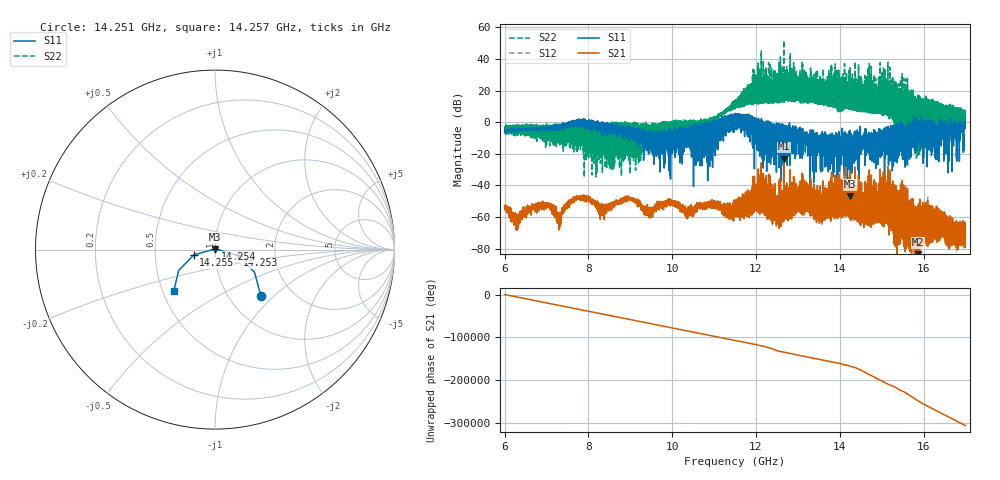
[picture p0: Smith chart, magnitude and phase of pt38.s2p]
#  HZ  S  RI  R  50.00
! Rohde & Schwarz Vector Network Analyzer
! Rohde-Schwarz,ZNA67-2Port,1332450062101215,3.01
! Created: UTC 10/15/2026, 4:16:47 PM
! freq[Hz]  re:S11  im:S11  re:S21  im:S21  re:S12  im:S12  re:S22  im:S22
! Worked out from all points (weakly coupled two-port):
!   11001 points, 6 GHz to 17 GHz, reference 50 ohm
!   highest |S21| = -23.04 dB at 12.666 GHz (marker M1); lowest = -86.2 dB at 15.868 GHz (marker M2)
!   lowest |S11| = -46.9 dB at 14.254 GHz (marker M3), VSWR 1.01, Z = 50.2 + j0.425 ohm
!   |S11| at or under -10 dB: 13.47949 GHz to 13.51904 GHz (39.55 MHz wide, 0.293 % of centre); 13.59815 GHz to 13.64679 GHz (48.64 MHz wide, 0.357 % of centre); 13.77205 GHz to 13.81189 GHz (39.84 MHz wide, 0.289 % of centre) (the widest 3 of 525)
!   |S22| runs from -34.8 to 51.6 dB; largest |S21 - S12| = 0.0068
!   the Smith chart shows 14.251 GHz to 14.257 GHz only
!   S11 on the Smith chart (normalised r, x): 14.251 GHz: 1.40, -0.83; 14.253 GHz: 1.29, -0.08; 14.254 GHz: 1.00, +0.01; 14.255 GHz: 0.79, -0.05; 14.257 GHz: 0.57, -0.29
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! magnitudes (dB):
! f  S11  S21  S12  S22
! 6 GHz  -5.1  -53.0  -52.9  -6.4
! 6.311 GHz  -5.3  -65.2  -65.4  -3.0
! 7.059 GHz  -3.0  -52.3  -52.1  -5.6
! 7.299 GHz  -3.8  -65.3  -65.5  -2.4
! 7.834 GHz  -0.4  -47.9  -47.8  -7.1
! 8.336 GHz  -1.6  -55.5  -54.9  -8.3
! 8.928 GHz  -3.0  -49.5  -49.3  -11.0
! 9.377 GHz  -15.3  -56.9  -56.7  -1.1
! 9.667 GHz  -12.7  -53.1  -53.4  -4.1
! 10.834 GHz  -6.3  -53.0  -53.0  1.6
! 11.5 GHz  5.3  -54.6  -54.9  10.2
! 12.666 GHz  -16.9  -23.0  -23.8  51.6
! 13.334 GHz  -9.3  -57.2  -57.2  15.4
! 14.251 GHz  -8.8  -45.4  -45.2  19.7
! 14.253 GHz  -17.7  -56.6  -56.5  10.2
! 14.254 GHz  -46.9  -55.6  -55.5  11.7
! 14.255 GHz  -18.2  -48.4  -47.7  21.3
! 14.257 GHz  -9.8  -60.4  -60.1  9.0
! 15.167 GHz  -9.3  -63.9  -63.3  5.7
! 15.868 GHz  -5.9  -86.2  -87.5  -21.5
! 16.569 GHz  -0.5  -76.1  -76.3  -4.2
! 17 GHz  1.9  -72.0  -71.4  1.8
